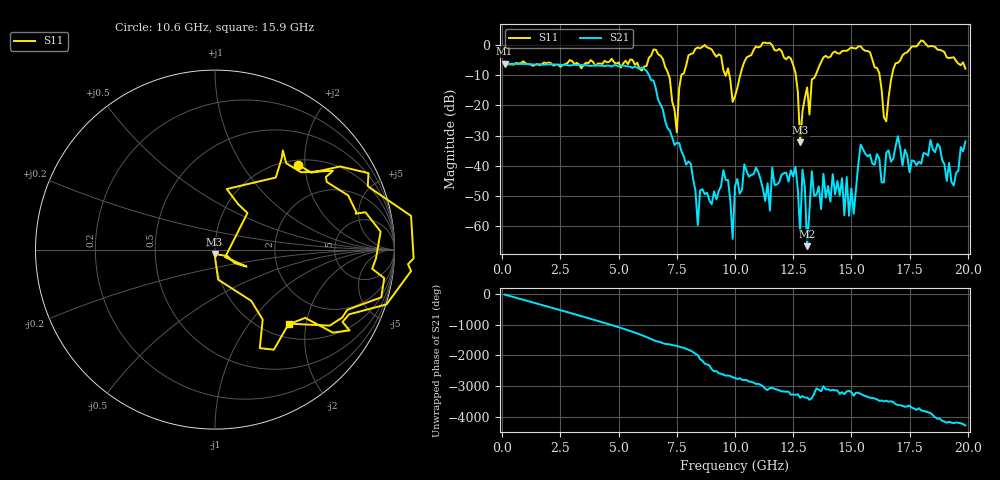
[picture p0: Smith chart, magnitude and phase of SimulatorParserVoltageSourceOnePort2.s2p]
# MHz MA S R 50.0
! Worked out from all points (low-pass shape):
!   199 points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, 100 MHz to 19.9 GHz, reference 50 ohm
!   highest |S21| = -6.05 dB at 100 MHz (marker M1); lowest = -66.8 dB at 13.1 GHz (marker M2)
!   |S21| within 3 dB of the highest: start of sweep to 6.241 GHz
!   lowest |S11| = -32.2 dB at 12.8 GHz (marker M3), VSWR 1.05, Z = 49.7 - j2.42 ohm
!   |S11| at or under -10 dB: 7.155 GHz to 7.694 GHz (539.1 MHz wide, 7.26 % of centre); 9.76 GHz to 10.22 GHz (463.5 MHz wide, 4.64 % of centre); 12.61 GHz to 13.46 GHz (841.8 MHz wide, 6.46 % of centre)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
!   S12 and S22 are empty: the file has one direction only
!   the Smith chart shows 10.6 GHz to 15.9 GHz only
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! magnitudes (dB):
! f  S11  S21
! 100 MHz  -5.5  -6.0
! 3.4 GHz  -7.6  -6.5
! 6.7 GHz  -3.0  -18.3
! 7.5 GHz  -28.9  -32.4
! 7.7 GHz  -9.7  -35.3
! 8.4 GHz  -0.7  -59.8
! 9.5 GHz  -8.2  -41.5
! 9.9 GHz  -18.8  -64.4
! 10 GHz  -16.9  -46.9
! 11.9 GHz  -1.2  -45.5
! 12.6 GHz  -9.1  -40.4
! 12.8 GHz  -32.2  -62.0
! 12.9 GHz  -22.0  -41.3
! 13.1 GHz  -14.0  -66.8
! 13.3 GHz  -11.3  -41.9
! 14.8 GHz  -1.8  -43.8
! 14.9 GHz  -1.3  -56.7
! 15.4 GHz  -0.3  -33.0
! 16.6 GHz  -17.3  -35.0
! 18 GHz  1.6  -39.4
! 19.4 GHz  -4.0  -46.6
! 19.9 GHz  -7.8  -32.0
